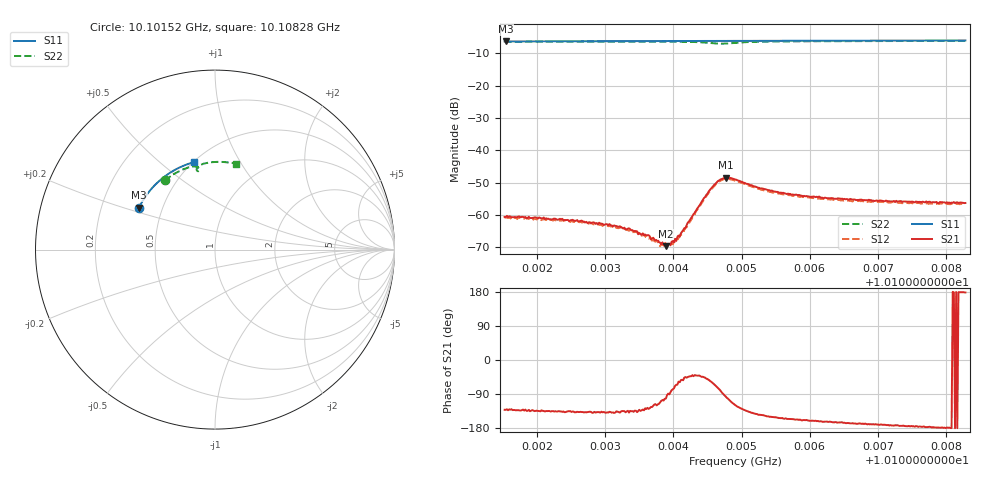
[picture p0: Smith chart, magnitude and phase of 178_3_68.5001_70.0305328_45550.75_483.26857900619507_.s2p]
#  HZ  S  RI  R  50.00
! Rohde & Schwarz Vector Network Analyzer
! Rohde-Schwarz,ZNB20-2Port,1311601062101988,3.16
! Created: UTC 3/20/2024, 4:56:36 PM
! freq[Hz]  re:S11  im:S11  re:S21  im:S21  re:S12  im:S12  re:S22  im:S22
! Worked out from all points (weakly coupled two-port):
!   401 points, 10.10152 GHz to 10.10828 GHz, reference 50 ohm
!   highest |S21| = -48.54 dB at 10.10477 GHz (marker M1); lowest = -69.6 dB at 10.10389 GHz (marker M2)
!   lowest |S11| = -6.3 dB at 10.10154 GHz (marker M3), VSWR 2.87, Z = 18.4 + j11.2 ohm
!   |S11| at or under -10 dB: nowhere
!   |S22| runs from -7.0 to -6.1 dB; largest |S21 - S12| = 0.00039
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1.0101524e10  -0.4239 0.2327  -0.000613 -0.000696  -0.000533 -0.000736  -0.2797 0.3854
1.0101541e10  -0.4234 0.2335  -0.000617 -0.000695  -0.00053 -0.000739  -0.2787 0.3861
1.0102656e10  -0.3897 0.2925  -0.000599 -0.000551  -0.000504 -0.000568  -0.2183 0.4268
1.0103045e10  -0.376 0.3117  -0.000523 -0.000456  -0.000465 -0.000478  -0.1956 0.4388
1.0103265e10  -0.3678 0.3223  -0.000435 -0.000434  -0.00038 -0.00047  -0.1819 0.4451
1.0103366e10  -0.3639 0.3271  -0.00042 -0.00043  -0.000381 -0.000407  -0.1755 0.4478
1.0103468e10  -0.3601 0.3318  -0.00041 -0.000374  -0.000332 -0.000415  -0.169 0.4504
1.010362e10  -0.3539 0.3389  -0.000286 -0.000389  -0.000233 -0.000361  -0.1589 0.454
1.0103789e10  -0.3471 0.3466  -0.000163 -0.000341  -0.000127 -0.000335  -0.1472 0.4578
1.010389e10  -0.3428 0.3511  -6.72e-05 -0.000323  -4.58e-05 -0.000343  -0.1401 0.4597
1.0103958e10  -0.3401 0.3541  2.83e-05 -0.000337  9.22e-05 -0.000334  -0.135 0.4608
1.0104059e10  -0.3359 0.3584  0.000194 -0.000416  0.000206 -0.000357  -0.1271 0.4622
1.0104161e10  -0.3316 0.3629  0.000427 -0.000451  0.000414 -0.000413  -0.1187 0.4628
1.0104363e10  -0.3227 0.3713  0.000981 -0.000864  0.00102 -0.000756  -0.1008 0.4607
1.0104549e10  -0.3144 0.379  0.00139 -0.00211  0.00151 -0.0019  -0.0872 0.4489
1.0104651e10  -0.3097 0.3829  0.000949 -0.00316  0.00117 -0.00296  -0.0883 0.4394
1.0104769e10  -0.3045 0.3876  -0.00043 -0.00372  -0.000135 -0.0036  -0.0978 0.4377
1.0104904e10  -0.2983 0.393  -0.00169 -0.00311  -0.00136 -0.00311  -0.1023 0.449
1.0105428e10  -0.2732 0.4125  -0.00204 -0.0012  -0.00185 -0.0013  -0.069 0.4769
1.0106037e10  -0.2426 0.433  -0.00178 -0.000653  -0.00166 -0.00076  -0.0265 0.4859
1.0107169e10  -0.1817 0.4644  -0.00161 -0.000202  -0.00151 -0.000383  0.0482 0.4881
1.0108285e10  -0.1182 0.4869  -0.00153 4.84e-05  -0.00146 -0.000112  0.1192 0.4784
